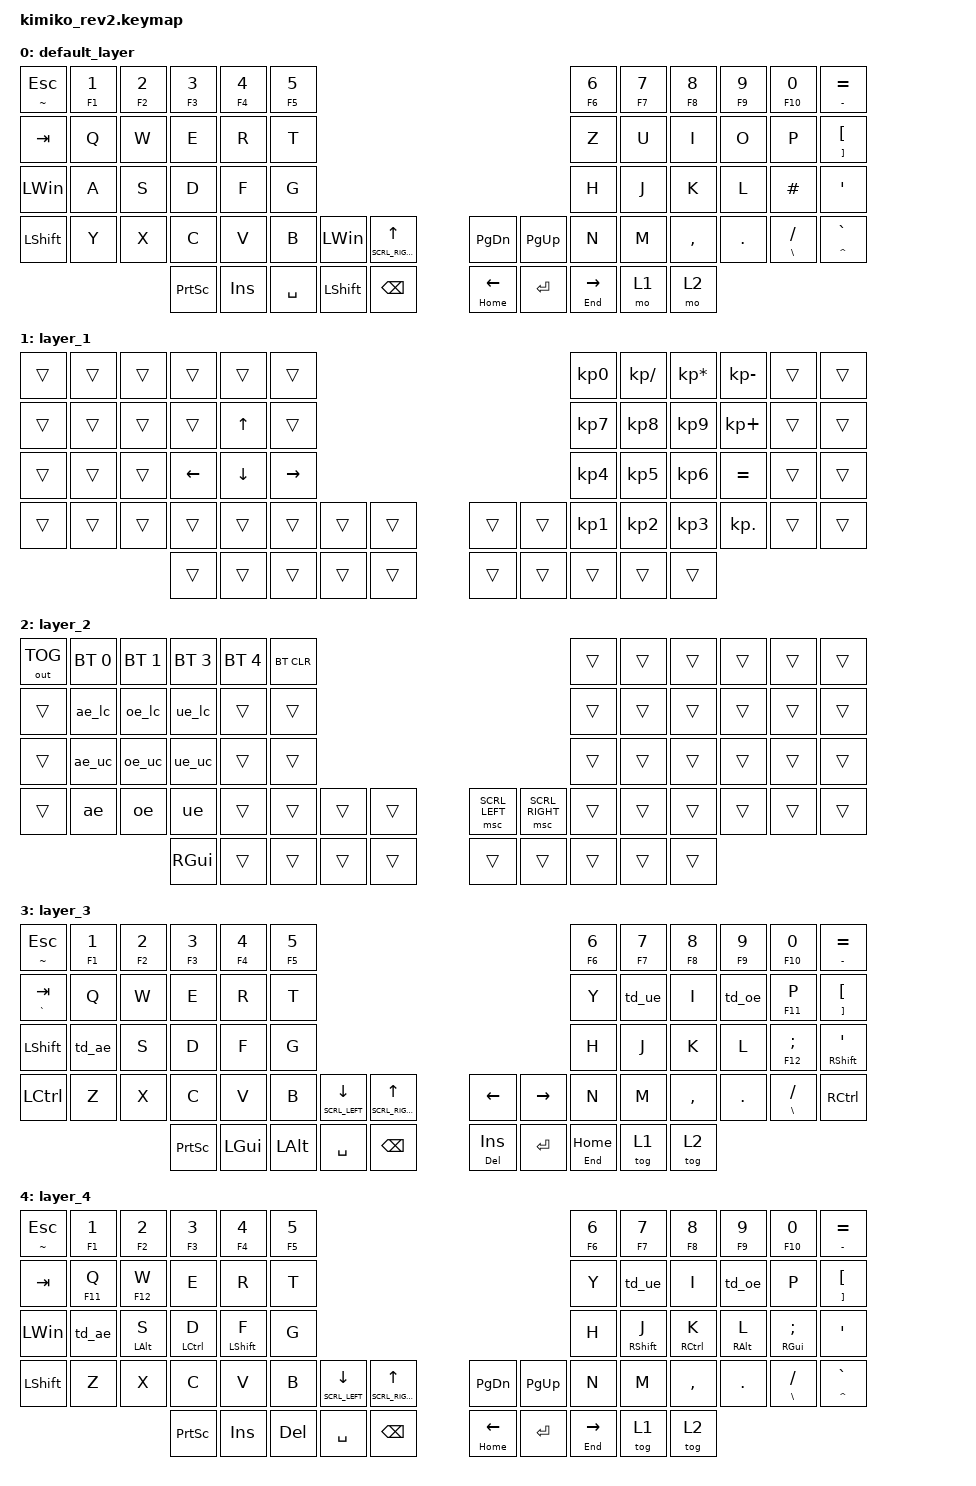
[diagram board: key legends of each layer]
#include <behaviors.dtsi>
#include <dt-bindings/zmk/bt.h>
#include <dt-bindings/zmk/keys.h>
#include <dt-bindings/zmk/outputs.h>
#include <dt-bindings/zmk/pointing.h>

/ {
    macros {
        ae_lc: de_ae_lower_case {
            compatible = "zmk,behavior-macro";
            #binding-cells = <0>;
            wait-ms = <40>;
            tap-ms = <40>;
            bindings =
                <&macro_press>,
                <&kp LALT>,
                <&macro_tap>,
                <&kp KP_N1 &kp KP_N3 &kp KP_N2>,
                <&macro_release>,
                <&kp LALT>;
        };

        ae_uc: de_ae_upper_case {
            compatible = "zmk,behavior-macro";
            #binding-cells = <0>;
            wait-ms = <40>;
            tap-ms = <40>;
            bindings =
                <&macro_press>,
                <&kp LALT>,
                <&macro_tap>,
                <&kp KP_N1 &kp KP_N4 &kp KP_N2>,
                <&macro_release>,
                <&kp LALT>;
        };

        oe_lc: de_oe_lower_case {
            compatible = "zmk,behavior-macro";
            #binding-cells = <0>;
            wait-ms = <40>;
            tap-ms = <40>;
            bindings =
                <&macro_press>,
                <&kp LALT>,
                <&macro_tap>,
                <&kp KP_N1 &kp KP_N4 &kp KP_N8>,
                <&macro_release>,
                <&kp LALT>;
        };

        oe_uc: de_oe_upper_case {
            compatible = "zmk,behavior-macro";
            #binding-cells = <0>;
            wait-ms = <40>;
            tap-ms = <40>;
            bindings =
                <&macro_press>,
                <&kp LALT>,
                <&macro_tap>,
                <&kp KP_N1 &kp KP_N5 &kp KP_N3>,
                <&macro_release>,
                <&kp LALT>;
        };

        ue_lc: de_ue_lower_case {
            compatible = "zmk,behavior-macro";
            #binding-cells = <0>;
            wait-ms = <40>;
            tap-ms = <40>;
            bindings =
                <&macro_press>,
                <&kp LALT>,
                <&macro_tap>,
                <&kp KP_N1 &kp KP_N2 &kp KP_N9>,
                <&macro_release>,
                <&kp LALT>;
        };

        ue_uc: de_ue_upper_case {
            compatible = "zmk,behavior-macro";
            #binding-cells = <0>;
            wait-ms = <40>;
            tap-ms = <40>;
            bindings =
                <&macro_press>,
                <&kp LALT>,
                <&macro_tap>,
                <&kp KP_N1 &kp KP_N5 &kp KP_N4>,
                <&macro_release>,
                <&kp LALT>;
        };
    };

    behaviors {
        td_ae: td_de_ae {
            compatible = "zmk,behavior-tap-dance";
            #binding-cells = <0>;
            tapping-term-ms = <200>;
            bindings = <&kp A>, <&ae_lc>, <&ae_uc>;
        };

        td_oe: td_de_oe {
            compatible = "zmk,behavior-tap-dance";
            #binding-cells = <0>;
            tapping-term-ms = <200>;
            bindings = <&kp O>, <&oe_lc>, <&oe_uc>;
        };

        td_ue: td_de_ue {
            compatible = "zmk,behavior-tap-dance";
            #binding-cells = <0>;
            tapping-term-ms = <200>;
            bindings = <&kp U>, <&ue_lc>, <&ue_uc>;
        };

        ae: de_ae {
            compatible = "zmk,behavior-mod-morph";
            #binding-cells = <0>;
            bindings = <&ae_lc>, <&ae_uc>;

            mods = <(MOD_LCTL|MOD_RCTL|MOD_LGUI|MOD_RGUI|MOD_LSFT|MOD_RSFT)>;
        };

        oe: de_oe {
            compatible = "zmk,behavior-mod-morph";
            #binding-cells = <0>;
            bindings = <&oe_lc>, <&oe_uc>;

            mods = <(MOD_LSFT|MOD_RSFT)>;
        };

        ue: de_ue {
            compatible = "zmk,behavior-mod-morph";
            #binding-cells = <0>;
            bindings = <&ue_lc>, <&ue_uc>;

            mods = <(MOD_LSFT|MOD_RSFT)>;
        };

        ht_tp: hold_tap_tap_preferred {
            compatible = "zmk,behavior-hold-tap";
            #binding-cells = <2>;
            flavor = "tap-preferred";
            tapping-term-ms = <200>;
            quick-tap-ms = <200>;
            require-prior-idle-ms = <400>;
            bindings = <&kp>, <&kp>;
        };

        ht_tp_msc: hold_tap_tap_preferred_mouse {
            compatible = "zmk,behavior-hold-tap";
            #binding-cells = <2>;
            flavor = "tap-preferred";
            tapping-term-ms = <200>;
            quick-tap-ms = <200>;
            require-prior-idle-ms = <400>;
            bindings = <&msc>, <&kp>;
        };

        hm: homerow_mods {
            compatible = "zmk,behavior-hold-tap";
            #binding-cells = <2>;
            flavor = "tap-preferred";
            tapping-term-ms = <150>;
            require-prior-idle-ms = <250>;
            bindings = <&kp>, <&kp>;
        };

        hm_lp: homerow_mod_left_positional {
            compatible = "zmk,behavior-hold-tap";
            #binding-cells = <2>;
            flavor = "balanced";
            tapping-term-ms = <400>;
            hold-trigger-key-positions = <6 7 8 9 10 11 18 19 20 21 22 23 30 31 32 33 34 35 44 45 46 47 57 58 59 61 60 48 49 50 51>;    // <---[[right-hand keys]]
            hold-trigger-on-release;
            bindings = <&kp>, <&kp>;
        };

        hm_rp: homerow_mod_right_positional {
            compatible = "zmk,behavior-hold-tap";
            #binding-cells = <2>;
            flavor = "balanced";
            tapping-term-ms = <400>;
            hold-trigger-key-positions = <0 1 2 3 4 0 1 2 3 4 5 12 13 14 15 16 17 24 25 26 27 28 29 36 37 38 39 40 41 52 53 54 39 40 41 42 43 53 54 55 56>;    // <---[[left-hand keys]]
            hold-trigger-on-release;
            bindings = <&kp>, <&kp>;
        };
    };

    combos {
        compatible = "zmk,combos";

        tog_layer_3 {
            bindings = <&tog 3>;
            key-positions = <60 61>;
        };

        caps_word {
            bindings = <&caps_word>;
            key-positions = <28 31>;
        };
    };

    keymap {
        compatible = "zmk,keymap";

        default_layer {
            bindings = <
&mt TILDE ESC  &ht_tp F1 N1  &ht_tp F2 N2  &ht_tp F3 N3     &ht_tp F4 N4  &ht_tp F5 N5                                                                                 &ht_tp F6 N6      &ht_tp F7 N7  &ht_tp F8 N8  &ht_tp F9 N9  &ht_tp F10 N0  &mt MINUS EQUAL
&kp TAB        &kp Q         &kp W         &kp E            &kp R         &kp T                                                                                        &kp Z             &kp U         &kp I         &kp O         &kp P          &ht_tp RBKT LBKT
&kp LEFT_WIN   &kp A         &kp S         &kp D            &kp F         &kp G                                                                                        &kp H             &kp J         &kp K         &kp L         &kp HASH       &kp APOS
&kp LSHFT      &kp Y         &kp X         &kp C            &kp V         &kp B         &kp LEFT_WIN    &ht_tp_msc SCRL_RIGHT UP_ARROW  &kp PAGE_DOWN     &kp PAGE_UP  &kp N             &kp M         &kp COMMA     &kp DOT       &mt BSLH FSLH  &mt CARET GRAVE
                                           &kp PRINTSCREEN  &kp INSERT    &kp SPACE     &kp LEFT_SHIFT  &kp BACKSPACE                   &ht_tp HOME LEFT  &kp RET      &ht_tp END RIGHT  &mo 1         &mo 2
            >;
        };

        layer_1 {
            bindings = <
&trans  &trans  &trans  &trans    &trans    &trans                                     &kp KP_N0  &kp KP_DIVIDE  &kp KP_MULTIPLY  &kp KP_MINUS  &trans  &trans
&trans  &trans  &trans  &trans    &kp UP    &trans                                     &kp KP_N7  &kp KP_N8      &kp KP_N9        &kp KP_PLUS   &trans  &trans
&trans  &trans  &trans  &kp LEFT  &kp DOWN  &kp RIGHT                                  &kp KP_N4  &kp KP_N5      &kp KP_N6        &kp EQUAL     &trans  &trans
&trans  &trans  &trans  &trans    &trans    &trans     &trans  &trans  &trans  &trans  &kp KP_N1  &kp KP_N2      &kp KP_N3        &kp KP_DOT    &trans  &trans
                        &trans    &trans    &trans     &trans  &trans  &trans  &trans  &trans     &trans         &trans
            >;
        };

        layer_2 {
            bindings = <
&out OUT_TOG  &bt BT_SEL 0  &bt BT_SEL 1  &bt BT_SEL 3  &bt BT_SEL 4  &bt BT_CLR                                                   &trans  &trans  &trans  &trans  &trans  &trans
&trans        &ae_lc        &oe_lc        &ue_lc        &trans        &trans                                                       &trans  &trans  &trans  &trans  &trans  &trans
&trans        &ae_uc        &oe_uc        &ue_uc        &trans        &trans                                                       &trans  &trans  &trans  &trans  &trans  &trans
&trans        &ae           &oe           &ue           &trans        &trans      &trans  &trans  &msc SCRL_LEFT  &msc SCRL_RIGHT  &trans  &trans  &trans  &trans  &trans  &trans
                                          &kp RGUI      &trans        &trans      &trans  &trans  &trans          &trans           &trans  &trans  &trans
            >;
        };

        layer_3 {
            bindings = <
&mt TILDE ESC  &ht_tp F1 N1  &ht_tp F2 N2  &ht_tp F3 N3     &ht_tp F4 N4  &ht_tp F5 N5                                                                                           &ht_tp F6 N6  &ht_tp F7 N7  &ht_tp F8 N8  &ht_tp F9 N9  &ht_tp F10 N0    &mt MINUS EQUAL
&mt GRAVE TAB  &kp Q         &kp W         &kp E            &kp R         &kp T                                                                                                  &kp Y         &td_ue        &kp I         &td_oe        &ht_tp F11 P     &mt RBKT LBKT
&kp LSHIFT     &td_ae        &kp S         &kp D            &kp F         &kp G                                                                                                  &kp H         &kp J         &kp K         &kp L         &ht_tp F12 SEMI  &mt RSHFT APOS
&kp LCTRL      &kp Z         &kp X         &kp C            &kp V         &kp B         &ht_tp_msc SCRL_LEFT DOWN_ARROW  &ht_tp_msc SCRL_RIGHT UP_ARROW  &kp LEFT     &kp RIGHT  &kp N         &kp M         &kp COMMA     &kp DOT       &mt BSLH FSLH    &kp RCTRL
                                           &kp PRINTSCREEN  &kp LGUI      &kp LALT      &kp SPACE                        &kp BACKSPACE                   &mt DEL INS  &kp RET    &mt END HOME  &tog 1        &tog 2
            >;
        };

        layer_4 {
            bindings = <
&mt TILDE ESC  &ht_tp F1 N1  &ht_tp F2 N2   &ht_tp F3 N3     &ht_tp F4 N4    &ht_tp F5 N5                                                                                                  &ht_tp F6 N6      &ht_tp F7 N7    &ht_tp F8 N8    &ht_tp F9 N9   &ht_tp F10 N0     &mt MINUS EQUAL
&kp TAB        &ht_tp F11 Q  &ht_tp F12 W   &kp E            &kp R           &kp T                                                                                                         &kp Y             &td_ue          &kp I           &td_oe         &kp P             &ht_tp RBKT LBKT
&kp LEFT_WIN   &td_ae        &hm_lp LALT S  &hm_lp LCTRL D   &hm_lp LSHFT F  &kp G                                                                                                         &kp H             &hm_rp RSHFT J  &hm_rp RCTRL K  &hm_rp RALT L  &hm_rp RGUI SEMI  &kp APOS
&kp LSHFT      &kp Z         &kp X          &kp C            &kp V           &kp B         &ht_tp_msc SCRL_LEFT DOWN_ARROW  &ht_tp_msc SCRL_RIGHT UP_ARROW  &kp PAGE_DOWN     &kp PAGE_UP  &kp N             &kp M           &kp COMMA       &kp DOT        &mt BSLH FSLH     &mt CARET GRAVE
                                            &kp PRINTSCREEN  &kp INSERT      &kp DELETE    &kp SPACE                        &kp BACKSPACE                   &ht_tp HOME LEFT  &kp RET      &ht_tp END RIGHT  &tog 1          &tog 2
            >;
        };
    };
};
